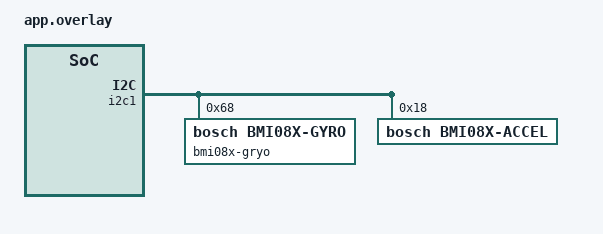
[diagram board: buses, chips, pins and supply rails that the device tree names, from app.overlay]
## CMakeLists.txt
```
cmake_minimum_required(VERSION 3.20.0)

find_package(Zephyr REQUIRED HINTS $ENV{ZEPHYR_BASE})

set(CARD "adcs")
project("oresat-${CARD}" LANGUAGES C)

execute_process(COMMAND bash -c "oresat-configs fw-files ${CARD} -d gen")

target_sources(app PRIVATE
  src/main.c
  src/bmi088.c
  src/imu.c
  gen/OD.c
)

zephyr_include_directories(gen)
```

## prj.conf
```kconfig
CONFIG_GPIO=y
CONFIG_I2C=y
CONFIG_SENSOR=y
CONFIG_CAN=y
CONFIG_CAN_DEFAULT_BITRATE=1000000
CONFIG_CANOPENNODE_V4=y
CONFIG_REBOOT=y
CONFIG_STM32_VREF=y
CONFIG_STM32_TEMP=y
CONFIG_BMI08X=y
CONFIG_BMI08X_GYRO_TRIGGER_NONE=y
CONFIG_BMI08X_ACCEL_TRIGGER_NONE=y
```

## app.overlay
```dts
&i2c1 {
	status = "okay";

	bmi08x-gryo@68 {
		status = "okay";
		compatible = "bosch,bmi08x-gyro";
		reg = <0x68>;
		gyro-hz = "100_32";
		gyro-fs = <1000>;
	};

  bmi08x-accel@18 {
      status = "okay";
      compatible = "bosch,bmi08x-accel";
      reg = <0x18>;
      accel-hz = "100";
      accel-fs = <3>;
    };
};
```

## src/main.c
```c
#include <zephyr/kernel.h>
#include <zephyr/device.h>
#include <zephyr/sys/reboot.h>
#include <canopennode.h>
#include <OD.h>
#include "board_sensors.h"
#include "oresat.h"
#include "imu.h"

#define CAN_INTERFACE DEVICE_DT_GET(DT_CHOSEN(zephyr_canbus))
#define CAN_BITRATE                                                                                \
	(DT_PROP_OR(DT_CHOSEN(zephyr_canbus), bitrate,                                             \
		    DT_PROP_OR(DT_CHOSEN(zephyr_canbus), bus_speed, CONFIG_CAN_DEFAULT_BITRATE)) / \
	 1000)

int main(void)
{
	k_timepoint_t timepoint;
	uint8_t node_id = oresat_get_node_id();
	oresat_fix_pdo_cob_ids(node_id);

	canopennode_init(CAN_INTERFACE, CAN_BITRATE, node_id);
	board_sensors_init();
	imu_init();

	while (canopennode_is_running()) {
		timepoint = sys_timepoint_calc(K_MSEC(1000));
		board_sensors_fill_od();
		imu_fill_od();
		k_sleep(sys_timepoint_timeout(timepoint));
	}

	canopennode_stop(CAN_INTERFACE);
	sys_reboot(SYS_REBOOT_COLD);

	return 0;
}
```

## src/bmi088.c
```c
#include "bmi088.h"
#include <zephyr/drivers/sensor.h>
#include <zephyr/pm/device.h>
#include <stdint.h>

int bmi088_init_accel(const struct device *dev)
{
	if (!device_is_ready(dev)) {
		return -1;
	}

	struct sensor_value full_scale = {500, 0};
	struct sensor_value oversampling = {1, 0};
	struct sensor_value sampling_freq = {100, 0};

	sensor_attr_set(dev, SENSOR_CHAN_ACCEL_XYZ, SENSOR_ATTR_FULL_SCALE, &full_scale);
	sensor_attr_set(dev, SENSOR_CHAN_ACCEL_XYZ, SENSOR_ATTR_OVERSAMPLING, &oversampling);
	sensor_attr_set(dev, SENSOR_CHAN_ACCEL_XYZ, SENSOR_ATTR_SAMPLING_FREQUENCY, &sampling_freq);

	return 0;
}

int bmi088_init_gyro(const struct device *dev)
{
	if (!device_is_ready(dev)) {
		return -1;
	}

	struct sensor_value full_scale = {500, 0};
	struct sensor_value oversampling = {1, 0};
	struct sensor_value sampling_freq = {100, 0};

	sensor_attr_set(dev, SENSOR_CHAN_GYRO_XYZ, SENSOR_ATTR_FULL_SCALE, &full_scale);
	sensor_attr_set(dev, SENSOR_CHAN_GYRO_XYZ, SENSOR_ATTR_OVERSAMPLING, &oversampling);
	sensor_attr_set(dev, SENSOR_CHAN_GYRO_XYZ, SENSOR_ATTR_SAMPLING_FREQUENCY, &sampling_freq);

	return 0;
}

int bmi088_read_accel(const struct device *dev, bmi088_accel_sample_t *data)
{
	struct sensor_value accel[3];

	sensor_sample_fetch(dev);
	sensor_channel_get(dev, SENSOR_CHAN_ACCEL_XYZ, accel);

	data->accel_x = sensor_value_to_milli(&accel[0]);
	data->accel_y = sensor_value_to_milli(&accel[1]);
	data->accel_z = sensor_value_to_milli(&accel[2]);

	return 0;
}

int bmi088_read_gyro(const struct device *dev, bmi088_gyro_sample_t *data)
{
	struct sensor_value gyro[3];

	sensor_sample_fetch(dev);
	sensor_channel_get(dev, SENSOR_CHAN_ACCEL_XYZ, gyro);

	data->gyro_x = sensor_value_to_milli(&gyro[0]);
	data->gyro_y = sensor_value_to_milli(&gyro[1]);
	data->gyro_z = sensor_value_to_milli(&gyro[2]);

	return 0;
}

int bmi088_read_temp(const struct device *dev, int64_t temp)
{
	struct sensor_value sv_temp = {0, 0};

	sensor_sample_fetch(dev);
	sensor_channel_get(dev, SENSOR_CHAN_DIE_TEMP, &sv_temp);

	temp = sensor_value_to_milli(&sv_temp);

	return 0;
}

int bmi088_reset(const struct device *dev)
{
	if (!pm_device_action_run(dev, PM_DEVICE_ACTION_SUSPEND)) {
		return -1;
	}

	if (!pm_device_action_run(dev, PM_DEVICE_ACTION_RESUME)) {
		return -1;
	}

	if (!device_is_ready(dev)) {
		return -1;
	}

	return 0;
}
```

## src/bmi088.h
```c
#ifndef BMI088_H
#define BMI088_H

#include <stdint.h>
#include <zephyr/device.h>
#include <zephyr/drivers/sensor.h>

typedef struct {
	int64_t accel_x;
	int64_t accel_y;
	int64_t accel_z;
} bmi088_accel_sample_t;

typedef struct {
	int64_t gyro_x;
	int64_t gyro_y;
	int64_t gyro_z;
} bmi088_gyro_sample_t;

int bmi088_init_accel(const struct device *dev);
int bmi088_init_gyro(const struct device *dev);

int bmi088_read_gyro(const struct device *dev, bmi088_gyro_sample_t *data);
int bmi088_read_accel(const struct device *dev, bmi088_accel_sample_t *data);
int bmi088_read_temp(const struct device *dev, int64_t temp);

int bmi088_reset(const struct device *dev);

#endif
```

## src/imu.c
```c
#include <zephyr/kernel.h>
#include <zephyr/device.h>
#include <zephyr/drivers/sensor.h>
#include <canopennode.h>
#include <OD.h>
#include "bmi088.h"
#include "oresat.h"

static const struct device *const dev_gyro = DEVICE_DT_GET_ONE(bosch_bmi08x_gyro);
// static const struct device *const dev_accel = DEVICE_DT_GET_ONE(bosch_bmi08x_accel);

bmi088_gyro_sample_t gyro = {0, 0, 0};
// bmi088_accel_sample_t accel = {0,0,0};

void imu_init(void)
{
	// bmi088_init_accel(dev_accel);
	bmi088_init_gyro(dev_gyro);
}

void imu_fill_od(void)
{
	// bmi088_read_accel(dev_accel, accel);
	bmi088_read_gyro(dev_gyro, &gyro);

	CO_LOCK_OD(CO->CANmodule);
	OD_RAM.x4000_gyroscope.pitch_rate = gyro.gyro_x;
	OD_RAM.x4000_gyroscope.yaw_rate = gyro.gyro_y;
	OD_RAM.x4000_gyroscope.roll_rate = gyro.gyro_z;
	CO_UNLOCK_OD(CO->CANmodule);

	printk("GX: %lld, GY: %lld, GZ: %lld\n", gyro.gyro_x, gyro.gyro_y, gyro.gyro_z);
}
```
